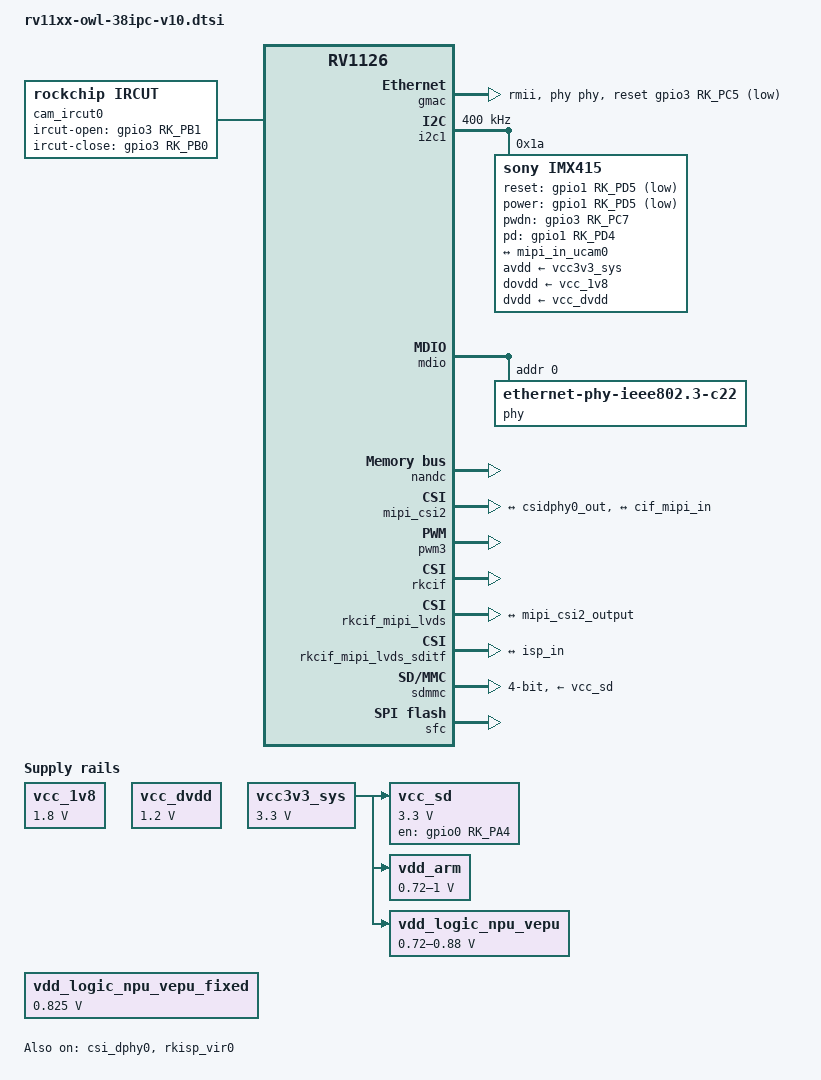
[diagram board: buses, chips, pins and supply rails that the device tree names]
// SPDX-License-Identifier: (GPL-2.0+ OR MIT)
/*
 * Copyright (c) 2020 Rockchip Electronics Co., Ltd.
 */

/dts-v1/;
#include "rv1126.dtsi"
#include "rv1126-ipc.dtsi"
#include <dt-bindings/input/input.h>

/ {
	/delete-node/ vdd-npu;
	/delete-node/ vdd-vepu;

	cam_ircut0: cam_ircut {
		compatible = "rockchip,ircut";
		status = "okay";
		ircut-open-gpios = <&gpio3 RK_PB1 GPIO_ACTIVE_HIGH>;
		ircut-close-gpios = <&gpio3 RK_PB0 GPIO_ACTIVE_HIGH>;
		pinctrl-names = "default";
		pinctrl-0 = <&ircut_pins>;
		rockchip,camera-module-index = <1>;
		rockchip,camera-module-facing = "front";
	};

	vcc_1v8: vcc-1v8 {
		compatible = "regulator-fixed";
		regulator-name = "vcc_1v8";
		regulator-always-on;
		regulator-boot-on;
		regulator-min-microvolt = <1800000>;
		regulator-max-microvolt = <1800000>;
	};

	vcc_dvdd: vcc-dvdd {
		compatible = "regulator-fixed";
		regulator-name = "vcc_dvdd";
		regulator-always-on;
		regulator-boot-on;
		regulator-min-microvolt = <1200000>;
		regulator-max-microvolt = <1200000>;
	};

	vcc3v3_sys: vcc33sys {
		compatible = "regulator-fixed";
		regulator-name = "vcc3v3_sys";
		regulator-always-on;
		regulator-boot-on;
		regulator-min-microvolt = <3300000>;
		regulator-max-microvolt = <3300000>;
	};

	vcc_sd: vcc-sd {
		compatible = "regulator-fixed";
		gpio = <&gpio0 RK_PA4 GPIO_ACTIVE_HIGH>;
		pinctrl-0 = <&sdmmc_pwr>;
		pinctrl-names = "default";
		regulator-name = "vcc_sd";
		regulator-min-microvolt = <3300000>;
		regulator-max-microvolt = <3300000>;
		startup-delay-us = <100000>;
		vin-supply = <&vcc3v3_sys>;
		enable-active-high;
	};

	vdd_arm: vdd-arm {
		compatible = "pwm-regulator";
		pwms = <&pwm0 0 5000 1>;
		regulator-name = "vdd_arm";
		regulator-min-microvolt = <720000>;
		regulator-max-microvolt = <1000000>;
		regulator-init-microvolt = <825000>;
		regulator-always-on;
		regulator-boot-on;
		regulator-settling-time-up-us = <250>;
		pwm-supply = <&vcc3v3_sys>;
		status = "okay";
	};

	/*
	 * pwm1 is reserved as voltage adjustment in hardware
	 * use fixed regulator to avoid voltage adjustment by software
	 */
	vdd_logic_npu_vepu: vdd-logic-npu-vepu {
		compatible = "pwm-regulator";
		pwms = <&pwm1 0 5000 1>;
		regulator-name = "vdd_logic_npu_vepu";
		regulator-min-microvolt = <720000>;
		regulator-max-microvolt = <880000>;
		regulator-init-microvolt = <825000>;
		regulator-always-on;
		regulator-boot-on;
		regulator-settling-time-up-us = <250>;
		pwm-supply = <&vcc3v3_sys>;
		status = "okay";
	};

	vdd_logic_npu_vepu_fixed: vdd-logic-npu-vepu-fixed {
		compatible = "regulator-fixed";
		regulator-name = "vdd_logic_npu_vepu-fixed";
		regulator-always-on;
		regulator-boot-on;
		regulator-min-microvolt = <825000>;
		regulator-max-microvolt = <825000>;
	};
};

&csi_dphy0 {
	status = "okay";

	ports {
		#address-cells = <1>;
		#size-cells = <0>;
		port@0 {
			reg = <0>;
			#address-cells = <1>;
			#size-cells = <0>;

			mipi_in_ucam0: endpoint@1 {
				reg = <1>;
				remote-endpoint = <&ucam_out0>;
				data-lanes = <1 2 3 4>;
			};
		};
		port@1 {
			reg = <1>;
			#address-cells = <1>;
			#size-cells = <0>;

			csidphy0_out: endpoint@0 {
				reg = <0>;
				remote-endpoint = <&mipi_csi2_input>;
			};
		};
	};
};

&gmac {
	phy-mode = "rmii";
	clock_in_out = "output";

	snps,reset-gpio = <&gpio3 RK_PC5 GPIO_ACTIVE_LOW>;
	snps,reset-active-low;
	snps,reset-delays-us = <0 50000 50000>;

	assigned-clocks = <&cru CLK_GMAC_SRC>, <&cru CLK_GMAC_TX_RX>;
	assigned-clock-parents = <&cru CLK_GMAC_SRC_M0>, <&cru RMII_MODE_CLK>;
	assigned-clock-rates = <50000000>;

	pinctrl-names = "default";
	pinctrl-0 = <&rmiim0_pins &gmac_clk_m0_drv_level0_pins>;

	phy-handle = <&phy>;
	status = "okay";
};

&i2c1 {
	status = "okay";
	clock-frequency = <400000>;

	imx415: imx415@1a {
		   compatible = "sony,imx415";
		   reg = <0x1a>;
		   clocks = <&cru CLK_MIPICSI_OUT>;
		   clock-names = "xvclk";
		   power-domains = <&power RV1126_PD_VI>;
		   pinctrl-names = "rockchip,camera_default";
		   pinctrl-0 = <&mipicsi_clk0>;
		   avdd-supply = <&vcc3v3_sys>;
		   dovdd-supply = <&vcc_1v8>;
		   dvdd-supply = <&vcc_dvdd>;
		   /* reset is always pulled high in v10 */
		   reset-gpios = <&gpio1 RK_PD5 GPIO_ACTIVE_LOW>;
		   power-gpios = <&gpio1 RK_PD5 GPIO_ACTIVE_LOW>;
           pwdn-gpios = <&gpio3 RK_PC7 GPIO_ACTIVE_HIGH>;
           pd-gpios = <&gpio1 RK_PD4 GPIO_ACTIVE_HIGH>;
		   rockchip,camera-module-index = <1>;
		   rockchip,camera-module-facing = "front";
		   rockchip,camera-module-name = "YT10092";
		   rockchip,camera-module-lens-name = "IR0147-60IRC-8M-F20";
		   ir-cut = <&cam_ircut0>;
		   port {
				   ucam_out0: endpoint {
						   remote-endpoint = <&mipi_in_ucam0>;
						   data-lanes = <1 2 3 4>;
				   };
		   };
	};
};

&isp_reserved {
	size = <0x20000000>;
};

&mdio {
	phy: phy@0 {
		compatible = "ethernet-phy-ieee802.3-c22";
		reg = <0x0>;
	};
};

&nandc {
    status = "okay";
};

&mipi_csi2 {
	status = "okay";

	ports {
		#address-cells = <1>;
		#size-cells = <0>;

		port@0 {
			reg = <0>;
			#address-cells = <1>;
			#size-cells = <0>;

			mipi_csi2_input: endpoint@1 {
				reg = <1>;
				remote-endpoint = <&csidphy0_out>;
				data-lanes = <1 2 3 4>;
			};
		};

		port@1 {
			reg = <1>;
			#address-cells = <1>;
			#size-cells = <0>;

			mipi_csi2_output: endpoint@0 {
				reg = <0>;
				remote-endpoint = <&cif_mipi_in>;
				data-lanes = <1 2 3 4>;
			};
		};
	};
};

&npu {
	npu-supply = <&vdd_logic_npu_vepu_fixed>;
};

&pinctrl {
	ircut {
		/omit-if-no-ref/
		ircut_pins: ircut-pins {
			rockchip,pins = <3 RK_PB0 RK_FUNC_GPIO &pcfg_pull_up>,
					<3 RK_PB1 RK_FUNC_GPIO &pcfg_pull_up>;
		};
	};

	sdmmc-pwr {
		/omit-if-no-ref/
		sdmmc_pwr: sdmmc-pwr {
			rockchip,pins = <0 RK_PA4 RK_FUNC_GPIO &pcfg_pull_up>;
		};
	};
};

&pmu_io_domains {
	status = "okay";

	pmuio0-supply = <&vcc3v3_sys>;
	pmuio1-supply = <&vcc3v3_sys>;
	vccio2-supply = <&vcc3v3_sys>;
	vccio4-supply = <&vcc_1v8>;
	vccio5-supply = <&vcc3v3_sys>;
	vccio6-supply = <&vcc3v3_sys>;
	vccio7-supply = <&vcc3v3_sys>;
};

&pwm3 {
	status = "okay";
	pinctrl-names = "active";
	pinctrl-0 = <&pwm3m0_pins_pull_down>;
};

&rkcif {
	status = "okay";
};

&rkcif_mmu {
	status = "disabled";
};

&rkcif_mipi_lvds {
	status = "okay";

	port {
		/* MIPI CSI-2 endpoint */
		cif_mipi_in: endpoint {
			remote-endpoint = <&mipi_csi2_output>;
			data-lanes = <1 2 3 4>;
		};
	};
};

&rkcif_mipi_lvds_sditf {
	status = "okay";

	port {
		/* MIPI CSI-2 endpoint */
		mipi_lvds_sditf: endpoint {
			remote-endpoint = <&isp_in>;
			data-lanes = <1 2 3 4>;
		};
	};
};

&rkisp_vir0 {
	status = "okay";

	ports {
		port@0 {
			reg = <0>;
			#address-cells = <1>;
			#size-cells = <0>;

			isp_in: endpoint@0 {
				reg = <0>;
				remote-endpoint = <&mipi_lvds_sditf>;
			};
		};
	};
};

&rkvenc {
	venc-supply = <&vdd_logic_npu_vepu_fixed>;
};

&rockchip_suspend {
	status = "okay";
	rockchip,sleep-debug-en = <1>;
	rockchip,sleep-mode-config = <
		(0
		| RKPM_SLP_ARMOFF
		| RKPM_SLP_PMU_PMUALIVE_32K
		| RKPM_SLP_PMU_DIS_OSC
		)
	>;
};

&sdmmc0_bus4 {
	rockchip,pins =
		/* sdmmc0_d0 */
		<1 RK_PA4 1 &pcfg_pull_up_drv_level_2>,
		/* sdmmc0_d1 */
		<1 RK_PA5 1 &pcfg_pull_up_drv_level_2>,
		/* sdmmc0_d2 */
		<1 RK_PA6 1 &pcfg_pull_up_drv_level_2>,
		/* sdmmc0_d3 */
		<1 RK_PA7 1 &pcfg_pull_up_drv_level_2>;
};

&sdmmc0_clk {
	rockchip,pins =
		/* sdmmc0_clk */
		<1 RK_PB0 1 &pcfg_pull_up_drv_level_2>;
};

&sdmmc0_cmd {
	rockchip,pins =
		/* sdmmc0_cmd */
		<1 RK_PB1 1 &pcfg_pull_up_drv_level_2>;
};

&sdmmc {
	status = "okay";
	bus-width = <4>;
	cap-mmc-highspeed;
	cap-sd-highspeed;
	card-detect-delay = <200>;
	rockchip,default-sample-phase = <90>;
	supports-sd;
	vmmc-supply = <&vcc_sd>;
};

&sfc {
	status = "okay";
};
